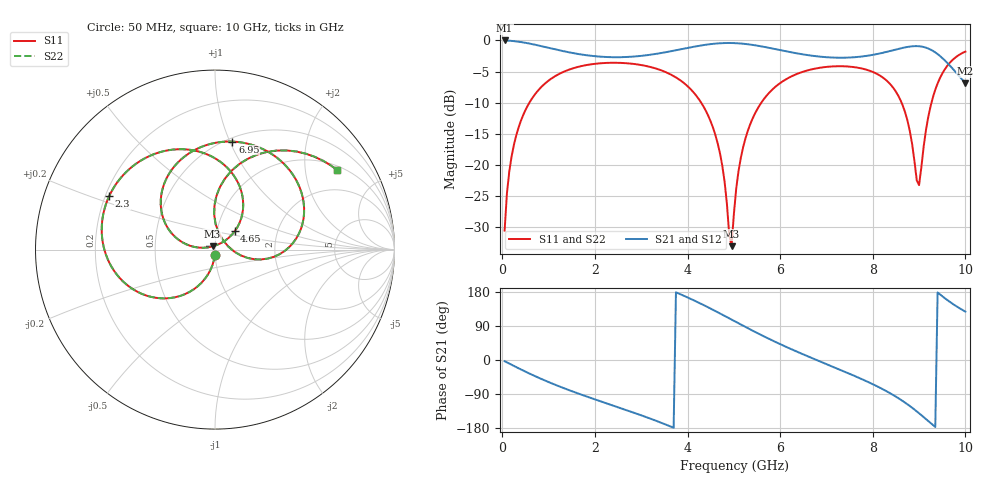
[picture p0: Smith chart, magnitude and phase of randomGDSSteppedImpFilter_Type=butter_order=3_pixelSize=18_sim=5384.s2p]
! freq	dB(S11)	phase(S11)	dB(S12)	phase(S12)
!  dB(S21)	phase(S21)	dB(S22)	phase(S22)
!S-par simulation data
#  GHz  S  DB  R 50
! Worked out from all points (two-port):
!   200 points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, 50 MHz to 10 GHz, reference 50 ohm
!   highest |S21| = -0.01 dB at 50 MHz (marker M1); lowest = -6.9 dB at 10 GHz (marker M2)
!   |S21| within 3 dB of the highest: start of sweep to 9.527 GHz
!   lowest |S11| = -33.0 dB at 4.95 GHz (marker M3), VSWR 1.05, Z = 48.6 + j1.73 ohm
!   |S11| at or under -10 dB: start of sweep to 585.4 MHz; 4.295 GHz to 5.593 GHz (1.298 GHz wide, 26.3 % of centre); 8.622 GHz to 9.268 GHz (646.3 MHz wide, 7.22 % of centre)
!   |S22| runs from -33.1 to -1.8 dB; largest |S21 - S12| = 0
!   S11 on the Smith chart (normalised r, x): 50 MHz: 1.00, -0.06; 2.3 GHz: 0.22, +0.23; 4.65 GHz: 1.22, +0.25; 6.95 GHz: 0.53, +1.02; 10 GHz: 1.14, +2.98
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0.05  -30.51 -92.4  -0.01 -3.2  -0.01 -3.2  -30.51 -92.4
0.2  -18.66 -102.7  -0.08 -12.6  -0.08 -12.6  -18.66 -102.7
0.5  -11.18 -121.1  -0.39 -30.7  -0.39 -30.7  -11.18 -121.1
1.05  -6.18 -151.3  -1.28 -60.8  -1.28 -60.8  -6.18 -151.3
1.75  -4.06 176.2  -2.31 -93.3  -2.31 -93.3  -4.06 176.2
2.3  -3.60 153.2  -2.68 -116.4  -2.68 -116.4  -3.60 153.2
3.4  -4.72 106.0  -2.07 -164.1  -2.07 -164.1  -4.72 106.0
4.1  -8.09 71.0  -1.07 159.5  -1.07 159.5  -8.09 70.9
4.65  -16.49 42.9  -0.49 126.1  -0.49 126.1  -16.50 42.8
4.95  -33.01 127.2  -0.43 106.7  -0.43 106.7  -33.14 127.5
5.05  -23.87 170.7  -0.45 100.2  -0.45 100.2  -23.89 171.0
5.25  -15.74 169.5  -0.58 87.3  -0.58 87.3  -15.74 169.6
5.55  -10.49 154.2  -0.90 68.4  -0.90 68.4  -10.49 154.2
6.7  -4.62 93.2  -2.47 4.4  -2.47 4.4  -4.62 93.2
6.95  -4.30 80.8  -2.67 -8.3  -2.67 -8.3  -4.30 80.9
7.75  -4.49 41.0  -2.60 -49.7  -2.60 -49.7  -4.49 41.0
8.35  -6.81 7.8  -1.75 -86.0  -1.75 -86.0  -6.81 7.7
8.7  -11.58 -12.0  -1.12 -112.7  -1.12 -112.7  -11.58 -12.0
9  -23.22 50.3  -0.94 -140.6  -0.94 -140.6  -23.29 50.4
9.35  -7.91 81.8  -1.93 -176.7  -1.93 -176.7  -7.91 81.9
9.65  -3.71 57.7  -3.93 154.6  -3.93 154.6  -3.71 57.8
10  -1.80 32.9  -6.90 127.7  -6.90 127.7  -1.80 33.0
